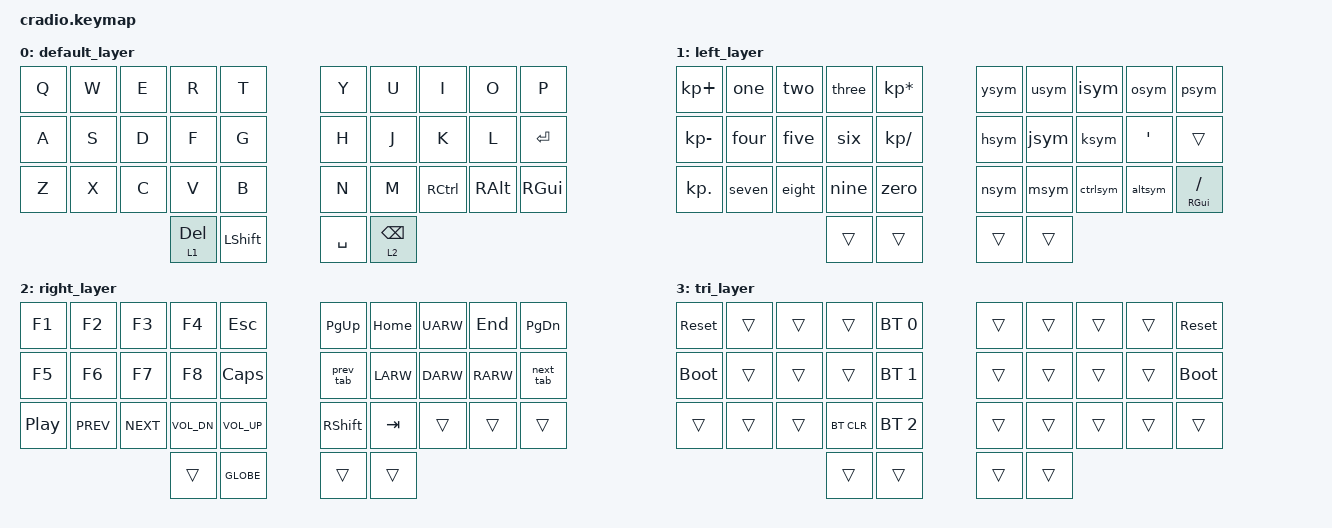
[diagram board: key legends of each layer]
// Copyright (c) 2022 The ZMK Contributors
// SPDX-License-Identifier: MIT

#include <behaviors.dtsi>
#include <dt-bindings/zmk/keys.h>
#include <dt-bindings/zmk/bt.h>

/ {
    conditional_layers {
        compatible = "zmk,conditional-layers";
        tri_layer {
            if-layers = <1 2>;
            then-layer = <3>;
        };
    };

    behaviors {
        one: one {
            compatible = "zmk,behavior-mod-morph";
            #binding-cells = <0>;
            bindings = <&kp EXCL>, <&kp KP_N1>;
            mods = <(MOD_LSFT|MOD_RSFT)>;
        };
        two: two {
            compatible = "zmk,behavior-mod-morph";
            #binding-cells = <0>;
            bindings = <&kp AT>, <&kp KP_N2>;
            mods = <(MOD_LSFT|MOD_RSFT)>;
        };
        three: three {
            compatible = "zmk,behavior-mod-morph";
            #binding-cells = <0>;
            bindings = <&kp POUND>, <&kp KP_N3>;
            mods = <(MOD_LSFT|MOD_RSFT)>;
        };
        four: four {
            compatible = "zmk,behavior-mod-morph";
            #binding-cells = <0>;
            bindings = <&kp DLLR>, <&kp KP_N4>;
            mods = <(MOD_LSFT|MOD_RSFT)>;
        };
        five: five {
            compatible = "zmk,behavior-mod-morph";
            #binding-cells = <0>;
            bindings = <&kp PRCNT>, <&kp KP_N5>;
            mods = <(MOD_LSFT|MOD_RSFT)>;
        };
        six: six {
            compatible = "zmk,behavior-mod-morph";
            #binding-cells = <0>;
            bindings = <&kp CARET>, <&kp KP_N6>;
            mods = <(MOD_LSFT|MOD_RSFT)>;
        };
        seven: seven {
            compatible = "zmk,behavior-mod-morph";
            #binding-cells = <0>;
            bindings = <&kp AMPS>, <&kp KP_N7>;
            mods = <(MOD_LSFT|MOD_RSFT)>;
        };
        eight: eight {
            compatible = "zmk,behavior-mod-morph";
            #binding-cells = <0>;
            bindings = <&kp STAR>, <&kp KP_N8>;
            mods = <(MOD_LSFT|MOD_RSFT)>;
        };
        nine: nine {
            compatible = "zmk,behavior-mod-morph";
            #binding-cells = <0>;
            bindings = <&kp LPAR>, <&kp KP_N9>;
            mods = <(MOD_LSFT|MOD_RSFT)>;
        };
        zero: zero {
            compatible = "zmk,behavior-mod-morph";
            #binding-cells = <0>;
            bindings = <&kp RPAR>, <&kp KP_N0>;
            mods = <(MOD_LSFT|MOD_RSFT)>;
        };
        ysym: ysym {
            compatible = "zmk,behavior-mod-morph";
            #binding-cells = <0>;
            bindings = <&kp GRAVE>, <&kp AMPS>;
            mods = <(MOD_LSFT|MOD_RSFT)>;
        };
        usym: usym {
            compatible = "zmk,behavior-mod-morph";
            #binding-cells = <0>;
            bindings = <&kp DLLR>, <&kp PIPE>;
            mods = <(MOD_LSFT|MOD_RSFT)>;
        };
        isym: isym {
            compatible = "zmk,behavior-mod-morph";
            #binding-cells = <0>;
            bindings = <&kp LBRC>, <&kp LBKT>;
            mods = <(MOD_LSFT|MOD_RSFT)>;
        };
        osym: osym {
            compatible = "zmk,behavior-mod-morph";
            #binding-cells = <0>;
            bindings = <&kp RBRC>, <&kp RBKT>;
            mods = <(MOD_LSFT|MOD_RSFT)>;
        };
        psym: psym {
            compatible = "zmk,behavior-mod-morph";
            #binding-cells = <0>;
            bindings = <&kp KP_EQUAL>, <&kp BSLH>;
            mods = <(MOD_LSFT|MOD_RSFT)>;
        };
        hsym: hsym {
            compatible = "zmk,behavior-mod-morph";
            #binding-cells = <0>;
            bindings = <&kp LT>, <&kp MINUS>;
            mods = <(MOD_LSFT|MOD_RSFT)>;
        };
        jsym: jsym {
            compatible = "zmk,behavior-mod-morph";
            #binding-cells = <0>;
            bindings = <&kp GT>, <&kp KP_PLUS>;
            mods = <(MOD_LSFT|MOD_RSFT)>;
        };
        ksym: ksym {
            compatible = "zmk,behavior-mod-morph";
            #binding-cells = <0>;
            bindings = <&kp COLON>, <&kp SEMI>;
            mods = <(MOD_LSFT|MOD_RSFT)>;
        };
        nsym: nsym {
            compatible = "zmk,behavior-mod-morph";
            #binding-cells = <0>;
            bindings = <&kp LPAR>, <&kp UNDER>;
            mods = <(MOD_LSFT|MOD_RSFT)>;
        };
        msym: and {
            compatible = "zmk,behavior-mod-morph";
            #binding-cells = <0>;
            bindings = <&kp RPAR>, <&kp EXCL>;
            mods = <(MOD_LSFT|MOD_RSFT)>;
        };
        ctrlsym: ctrlsym {
            compatible = "zmk,behavior-mod-morph";
            #binding-cells = <0>;
            bindings = <&kp COMMA>, <&kp TILDE>;
            mods = <(MOD_LSFT|MOD_RSFT)>;
        };
        altsym: altsym {
            compatible = "zmk,behavior-mod-morph";
            #binding-cells = <0>;
            bindings = <&kp DOT>, <&kp AT>;
            mods = <(MOD_LSFT|MOD_RSFT)>;
        };
    };

    macros {
        prev_tab: prev_tab {
            compatible = "zmk,behavior-macro";
            #binding-cells = <0>;
            bindings
                = <&macro_press &kp RGUI>
                , <&macro_press &kp RSHIFT>
                , <&macro_tap &kp LBKT>
                , <&macro_release &kp RGUI>
                , <&macro_release &kp RSHIFT>;
        };

        next_tab: next_tab {
            compatible = "zmk,behavior-macro";
            #binding-cells = <0>;
            bindings
                = <&macro_press &kp RGUI>
                , <&macro_press &kp RSHIFT>
                , <&macro_tap &kp RBKT>
                , <&macro_release &kp RGUI>
                , <&macro_release &kp RSHIFT>;
        };
    };

    keymap {
        compatible = "zmk,keymap";
        default_layer {
            bindings = <
        //╭──────────┬──────────┬──────────┬──────────┬──────────╮   ╭──────────┬──────────┬──────────┬──────────┬──────────╮
        //│  Q       │  W       │  E       │  R       │  T       │   │  Y       │  U       │  I       │  O       │  P       │
            &kp Q      &kp W      &kp E      &kp R      &kp T          &kp Y      &kp U      &kp I      &kp O      &kp P
        //├──────────┼──────────┼──────────┼──────────┼──────────┤   ├──────────┼──────────┼──────────┼──────────┼──────────┤
        //│  A       │  S       │  D       │  F       │  G       │   │  H       │  J       │  K       │  L       │ ENTER    │
            &kp A      &kp S      &kp D      &kp F      &kp G          &kp H      &kp J      &kp K      &kp L      &kp ENTER
        //├──────────┼──────────┼──────────┼──────────┼──────────┤   ├──────────┼──────────┼──────────┼──────────┼──────────┤
        //│  Z       │  X       │  C       │  V       │  B       │   │  N       │  M       │ CTRL     │ ALT      │ GUI      │
            &kp Z      &kp X      &kp C      &kp V      &kp B          &kp N      &kp M      &kp RCTRL  &kp RALT   &kp RGUI
        //╰──────────┴──────────┴──────────┼──────────┼──────────┤   ├──────────┼──────────┼──────────┴──────────┴──────────╯
                                           &lt 1 DEL   &kp LSHIFT     &kp SPACE  &lt 2 BSPC
        //                               ╰───────────┴───────────╯   ╰──────────┴────────────╯
            >;
        };

        left_layer {
            bindings = <
        //╭──────────┬──────────┬──────────┬──────────┬──────────╮   ╭──────────┬──────────┬──────────┬──────────┬──────────╮
        //│  +       │  ! 1     │  @ 2     │  # 3     │  *       │   │  ` &     │  $ |     │  { [     │  } ]     │  = \     │
           &kp KP_PLUS &one       &two       &three &kp KP_ASTERISK    &ysym      &usym       &isym     &osym      &psym
        //├──────────┼──────────┼──────────┼──────────┼──────────┤   ├──────────┼──────────┼──────────┼──────────┼──────────┤
        //│  -       │  $ 4     │  % 5     │  ^ 6     │  /       │   │  < -     │  > +     │  : ;     │  ' "     │          │
      &kp KP_SUBTRACT  &four      &five      &six     &kp KP_SLASH     &hsym      &jsym      &ksym      &kp SQT    &trans
        //├──────────┼──────────┼──────────┼──────────┼──────────┤   ├──────────┼──────────┼──────────┼──────────┼──────────┤
        //│  .       │  & 7     │  * 8     │  ( 9     │  ) 0     │   │  ( _     │  ) !     │  , <     │  . >     │  / ?     │
           &kp KP_DOT  &seven     &eight     &nine      &zero          &nsym      &msym      &ctrlsym   &altsym    &mt RGUI FSLH
        //╰──────────┴──────────┴──────────┼──────────┼──────────┤   ├──────────┼──────────┼──────────┴──────────┴──────────╯
                                             &trans     &trans         &trans     &trans
        //                                 ╰──────────┴──────────╯   ╰──────────┴──────────╯
            >;
        };

        right_layer {
            bindings = <
        //╭──────────┬──────────┬──────────┬──────────┬──────────╮   ╭──────────┬──────────┬──────────┬──────────┬──────────╮
        //│  F1      │  F2      │  F3      │  F4      │  ESC     │   │  PG UP   │  HOME    │  UP      │  END     │  PG DN   │
            &kp F1     &kp F2     &kp F3     &kp F4     &kp ESC        &kp PG_UP  &kp HOME   &kp UARW   &kp END    &kp PG_DN
        //├──────────┼──────────┼──────────┼──────────┼──────────┤   ├──────────┼──────────┼──────────┼──────────┼──────────┤
        //│  F5      │  F6      │  F7      │  F8      │  CAPS    │   │          │  LEFT    │  DOWN    │  RIGHT   │          │
            &kp F5     &kp F6     &kp F7     &kp F8     &kp CAPS       &prev_tab  &kp LARW   &kp DARW   &kp RARW   &next_tab
        //├──────────┼──────────┼──────────┼──────────┼──────────┤   ├──────────┼──────────┼──────────┼──────────┼──────────┤
        //│  PLAY    │  PREV    │  NEXT    │  VOLDN   │  VOLUP   │   │          │          │          │          │          │
            &kp C_PP  &kp C_PREV &kp C_NEXT &kp C_VOL_DN &kp C_VOL_UP &kp RSHIFT  &kp TAB    &trans     &trans     &trans
        //╰──────────┴──────────┴──────────┼──────────┼──────────┤   ├──────────┼──────────┼──────────┴──────────┴──────────╯
                                             &trans     &kp GLOBE      &trans     &trans
        //                                 ╰──────────┴──────────╯   ╰──────────┴─────────╯
            >;
        };

        tri_layer {
            bindings = <
        //╭──────────┬──────────┬──────────┬──────────┬──────────╮   ╭──────────┬──────────┬──────────┬──────────┬──────────╮
        //│ RESET    │          │          │          │PROFILE 0 │   │          │          │          │          │  RESET   │
           &sys_reset  &trans     &trans     &trans    &bt BT_SEL 0    &trans     &trans     &trans     &trans    &sys_reset
        //├──────────┼──────────┼──────────┼──────────┼──────────┤   ├──────────┼──────────┼──────────┼──────────┼──────────┤
        //│BOOTLOADER│          │          │          │PROFILE 1 │   │          │          │          │          │BOOTLOADER│
          &bootloader  &trans     &trans     &trans    &bt BT_SEL 1    &trans     &trans     &trans     &trans    &bootloader
        //├──────────┼──────────┼──────────┼──────────┼──────────┤   ├──────────┼──────────┼──────────┼──────────┼──────────┤
        //│          │          │          │ CLEAR BT │PROFILE 2 │   │          │          │          │          │          │
            &trans     &trans     &trans    &bt BT_CLR &bt BT_SEL 2    &trans     &trans     &trans     &trans     &trans
        //╰──────────┴──────────┴──────────┼──────────┼──────────┤   ├──────────┼──────────┼──────────┴──────────┴──────────╯
                                             &trans     &trans         &trans     &trans
        //                                 ╰──────────┴──────────╯   ╰──────────┴──────────╯
            >;
        };
    };
};
